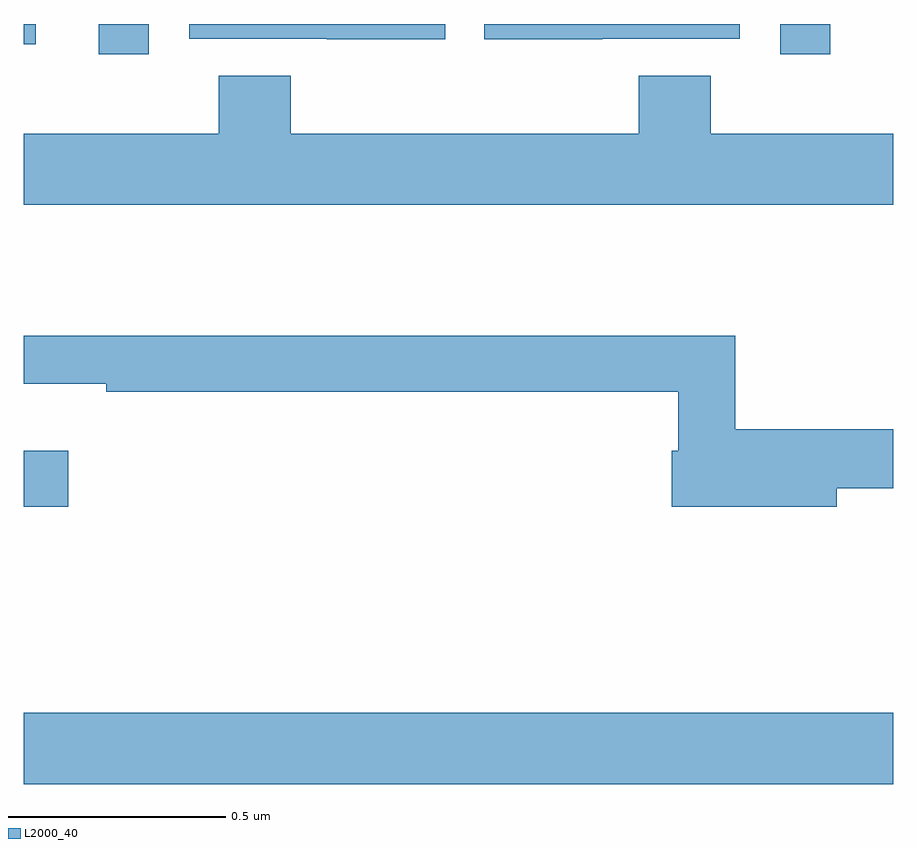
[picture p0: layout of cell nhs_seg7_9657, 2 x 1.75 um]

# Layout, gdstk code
import gdstk
lib = gdstk.Library(unit=1e-6, precision=1e-09)
def R(c, l, rs):  # rectangles x0, y0, x1, y1
    for r in rs: c.add(gdstk.rectangle(r[:2], r[2:], *l))
def P(c, l, *ps):  # polygons
    for p in ps: c.add(gdstk.Polygon(p, *l))
L2000_40 = (2000, 40)

nhs_seg7_9657 = lib.new_cell('nhs_seg7_9657')
R(nhs_seg7_9657, L2000_40, [(240,1031.252,242,1031.416), (240,1031.89,240.103,1032.019), (240.173,1032.93,240.288,1033), (241.74,1032.93,241.855,1033), (240,1032.953,240.028,1033)])
P(nhs_seg7_9657, L2000_40, [(240.969,1033),(240.381,1033),(240.381,1032.966),(240.697,1032.966),(240.697,1032.965),(240.969,1032.965)],
  [(241.331,1032.966),(241.647,1032.966),(241.647,1033),(241.059,1033),(241.059,1032.965),(241.331,1032.965)],
  [(242,1032.748),(241.58,1032.748),(241.58,1032.881),(241.415,1032.881),(241.415,1032.748),(240.614,1032.748),(240.614,1032.881),(240.449,1032.881),(240.449,1032.748),(240,1032.748),(240,1032.584),(242,1032.584)],
  [(241.87,1031.932),(242,1031.932),(242,1032.068),(241.637,1032.068),(241.637,1032.283),(240,1032.283),(240,1032.173),(240.19,1032.173),(240.19,1032.154),(241.505,1032.154),(241.505,1032.019),(241.49,1032.019),(241.49,1031.89),(241.87,1031.89)])

lib.write_gds('nhs_seg7_9657.gds')
